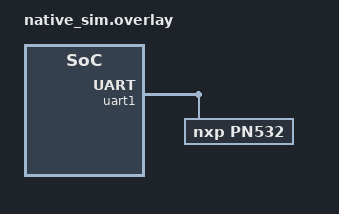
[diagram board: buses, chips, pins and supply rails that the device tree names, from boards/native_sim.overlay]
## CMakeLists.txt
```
# Copyright (c) 2026 Bayrem Gharsellaoui
# SPDX-License-Identifier: Apache-2.0

cmake_minimum_required(VERSION 3.20.0)
find_package(Zephyr REQUIRED HINTS $ENV{ZEPHYR_BASE})
project(pn532)

target_sources(app PRIVATE
  src/main.c
)
```

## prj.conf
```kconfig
# Copyright (c) 2026 Bayrem Gharsellaoui
# SPDX-License-Identifier: Apache-2.0

# Logging
CONFIG_LOG=y
CONFIG_LOG_MODE_IMMEDIATE=y
CONFIG_LOG_INFO_COLOR_GREEN=y
CONFIG_LOG_DBG_COLOR_BLUE=y

# PN532 NFC module
CONFIG_SERIAL=y
CONFIG_UART_INTERRUPT_DRIVEN=y
CONFIG_PN532=y
CONFIG_PN532_LOG_LEVEL=4
```

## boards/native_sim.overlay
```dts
/*
 * Copyright (c) 2026 Bayrem Gharsellaoui
 * SPDX-License-Identifier: Apache-2.0
 */

&uart1 {
    status = "okay";
    compatible = "zephyr,native-pty-uart";

    pn532 {
        compatible = "nxp,pn532";
        /* No IRQ or Reset pin used in native_sim */
    };
};
```

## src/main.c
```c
/*
 * Copyright (c) 2026 Bayrem Gharsellaoui
 * SPDX-License-Identifier: Apache-2.0
 */
#include <stdlib.h>

#include <zephyr/device.h>
#include <zephyr/kernel.h>
#include <zephyr/logging/log.h>
LOG_MODULE_REGISTER(main);

#include "pn532.h"

int main(void)
{
	const struct device *dev = DEVICE_DT_GET_ONE(nxp_pn532);

	if (!device_is_ready(dev)) {
		LOG_ERR("PN532 device not ready");
		exit(1);
	}

	/* ---- GetFirmwareVersion ---- */
	struct pn532_fw_version version = {0};
	if (pn532_get_firmware_version(dev, &version) < 0) {
		LOG_ERR("GetFirmwareVersion failed");
		exit(1);
	}
	LOG_INF("Found PN5%02X", version.ic);
	LOG_INF("Firmware version: %d.%d", version.ver, version.rev);

	exit(0);
}
```
